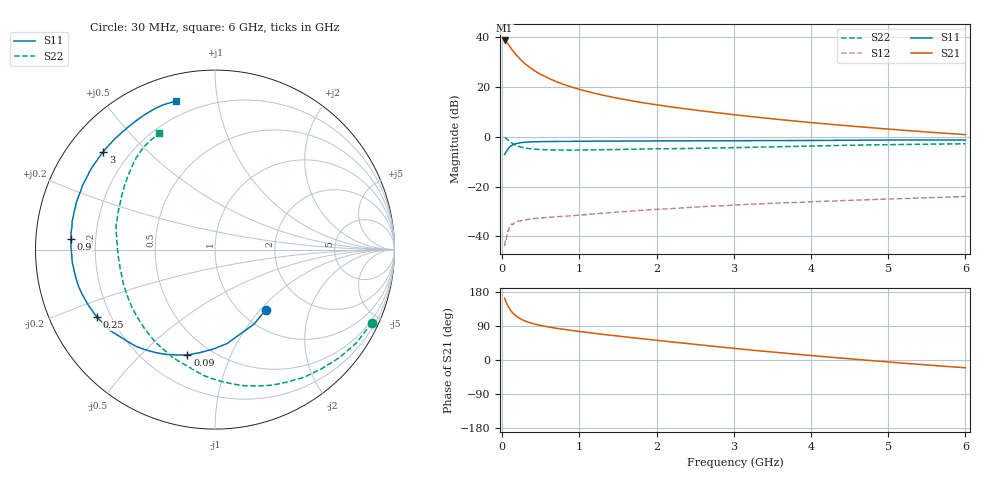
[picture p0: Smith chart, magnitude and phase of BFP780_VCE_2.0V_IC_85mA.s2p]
! Infineon Technologies  Discrete & RF Semiconductors
! BFP780
! VCE =  2.0 V,  IC =  85 mA
! Common Emitter S-Parameters:  Jul 2015
# GHz  S  MA  R  50
!  f  S11  S21  S12  S22
! GHz  MAG  ANG  MAG  ANG  MAG  ANG  MAG  ANG
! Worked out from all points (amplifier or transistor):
!   75 points, 30 MHz to 6 GHz, reference 50 ohm
!   highest |S21| = 38.5 dB at 30 MHz (marker M1)
!   |S21| within 3 dB of that: start of sweep to 110 MHz
!   unconditionally stable (mu >= 1): 1.81 GHz to end of sweep
!   at 150 MHz: K = 0.15, MSG = 34.3 dB, |S12| = -34.7 dB
!   at 2.3 GHz: K = 1.11, MAG = 18.0 dB, |S12| = -28.6 dB
!   at 6 GHz: K = 1.35, MAG = 8.8 dB, |S12| = -23.9 dB
!   S11 on the Smith chart (normalised r, x): 30 MHz: 1.29, -1.07; 90 MHz: 0.38, -0.70; 250 MHz: 0.15, -0.26; 900 MHz: 0.11, +0.04; 3 GHz: 0.11, +0.37; 6 GHz: 0.12, +0.77
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0.03  0.4386 -49.8  84.19 163.1  0.0064 72.6  0.9646 -25.0
0.05  0.4925 -73.9  78.76 152.6  0.0082 60.7  0.9171 -41.2
0.06  0.5279 -82.7  75.71 148.2  0.0107 61.2  0.8906 -48.2
0.08  0.5799 -98.3  69.12 140.0  0.0132 49.4  0.8414 -61.2
0.09  0.6069 -104.7  65.78 136.5  0.0146 52.1  0.8192 -67.3
0.12  0.6605 -119.5  56.79 127.7  0.0178 42.1  0.7547 -82.6
0.15  0.6984 -130.1  49.42 121.1  0.0185 39.2  0.7046 -95.1
0.2  0.7379 -142.2  39.96 112.9  0.0201 31.6  0.6475 -110.9
0.25  0.7581 -150.4  33.33 107.0  0.0208 29.6  0.6141 -122.7
0.3  0.771 -156.5  28.34 102.5  0.0215 27.8  0.5898 -131.7
0.35  0.7804 -161.2  24.61 98.9  0.0222 25.6  0.5743 -138.8
0.5  0.7925 -170.5  17.54 91.1  0.0235 23.5  0.5507 -153.2
0.7  0.7993 -178.5  12.61 83.7  0.0248 23.7  0.5391 -164.8
0.9  0.804 175.7  9.814 77.9  0.026 24.8  0.5375 -172.4
1.1  0.807 170.9  8.013 72.7  0.0275 25.3  0.5403 -178.2
1.5  0.8126 163.1  5.848 63.2  0.031 26.8  0.5512 173.2
2.1  0.82 152.8  4.107 49.8  0.0355 26.7  0.5696 163.4
3  0.8278 138.7  2.75 30.7  0.0426 24.2  0.6013 149.6
3.1  0.8286 137.3  2.642 28.8  0.0433 24.1  0.6057 148.2
4.1  0.8391 123.5  1.851 10.1  0.0502 19.9  0.6515 135.7
5.1  0.8547 112.5  1.378 -6.7  0.0569 14.8  0.6929 125.1
6  0.8549 104.6  1.096 -20.6  0.0636 9.7  0.7193 115.7
